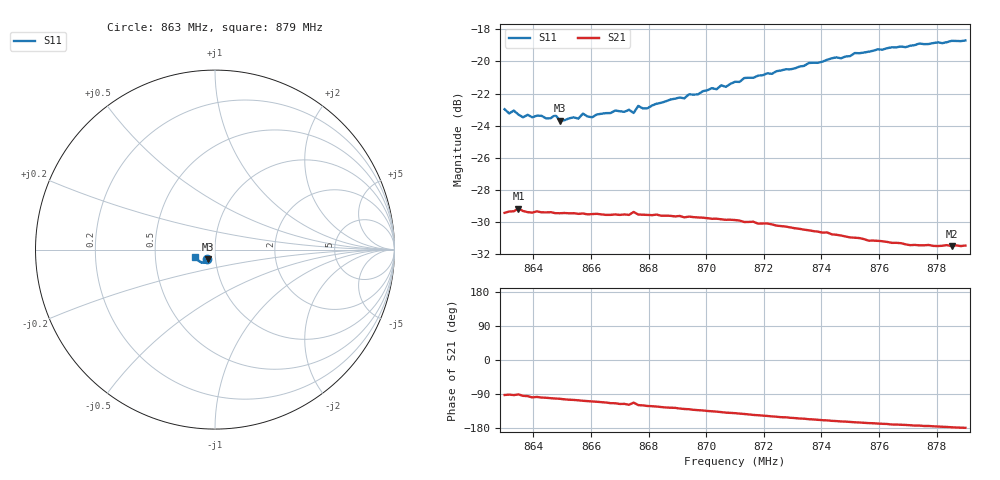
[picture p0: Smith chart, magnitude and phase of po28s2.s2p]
# HZ S RI R 50
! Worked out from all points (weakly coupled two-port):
!   101 points, 863 MHz to 879 MHz, reference 50 ohm
!   highest |S21| = -29.18 dB at 863.48 MHz (marker M1); lowest = -31.5 dB at 878.52 MHz (marker M2)
!   lowest |S11| = -23.7 dB at 864.92 MHz (marker M3), VSWR 1.14, Z = 46.1 - j4.96 ohm
!   |S11| at or under -10 dB: start of sweep to end of sweep
!   S12 and S22 are empty: the file has one direction only
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8.63e8  -0.0454 -0.0545  -0.0014 -0.0337  0 0  0 0
8.6316e8  -0.0446 -0.0524  -0.000781 -0.034  0 0  0 0
8.6332e8  -0.0442 -0.0546  -0.00154 -0.034  0 0  0 0
8.6348e8  -0.0408 -0.0547  -0.000489 -0.0347  0 0  0 0
8.6444e8  -0.0387 -0.054  -0.00568 -0.0333  0 0  0 0
8.6476e8  -0.0398 -0.0553  -0.00678 -0.0329  0 0  0 0
8.6492e8  -0.0375 -0.0535  -0.00723 -0.0328  0 0  0 0
8.6556e8  -0.0367 -0.0552  -0.00945 -0.0321  0 0  0 0
8.6572e8  -0.0368 -0.058  -0.0102 -0.032  0 0  0 0
8.6604e8  -0.0352 -0.057  -0.0111 -0.0315  0 0  0 0
8.6684e8  -0.0363 -0.0602  -0.0136 -0.0304  0 0  0 0
8.6732e8  -0.036 -0.0608  -0.0157 -0.0293  0 0  0 0
8.6748e8  -0.0278 -0.0632  -0.013 -0.0313  0 0  0 0
8.6764e8  -0.037 -0.0625  -0.0161 -0.0291  0 0  0 0
8.6796e8  -0.0362 -0.0615  -0.0173 -0.0284  0 0  0 0
8.6844e8  -0.0369 -0.0645  -0.0185 -0.0273  0 0  0 0
8.7068e8  -0.0453 -0.07  -0.0241 -0.0211  0 0  0 0
8.71e8  -0.0474 -0.0722  -0.0246 -0.0204  0 0  0 0
8.7372e8  -0.067 -0.073  -0.0272 -0.0116  0 0  0 0
8.7644e8  -0.0913 -0.0626  -0.0268 -0.00461  0 0  0 0
8.7852e8  -0.1064 -0.0462  -0.0265 -0.00117  0 0  0 0
8.79e8  -0.1093 -0.0398  -0.0266 -0.000457  0 0  0 0
